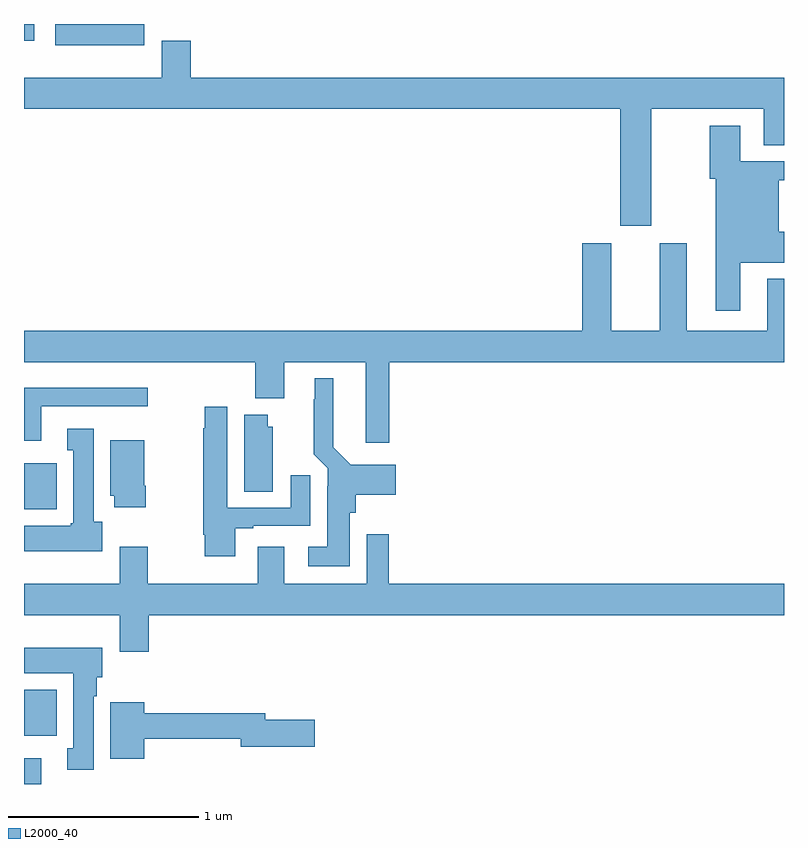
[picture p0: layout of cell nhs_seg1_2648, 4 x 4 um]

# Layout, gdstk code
import gdstk
lib = gdstk.Library(unit=1e-6, precision=1e-09)
def R(c, l, rs):  # rectangles x0, y0, x1, y1
    for r in rs: c.add(gdstk.rectangle(r[:2], r[2:], *l))
def P(c, l, *ps):  # polygons
    for p in ps: c.add(gdstk.Polygon(p, *l))
L2000_40 = (2000, 40)

nhs_seg1_2648 = lib.new_cell('nhs_seg1_2648')
R(nhs_seg1_2648, L2000_40, [(255,528.199,255.091,528.334), (255,528.452,255.172,528.694), (255,529.646,255.172,529.888), (255.165,532.088,255.634,532.199), (255,532.11,255.055,532.199)])
P(nhs_seg1_2648, L2000_40, [(258.301,531.752),(258.893,531.752),(258.893,531.562),(259,531.562),(259,531.916),(255.878,531.916),(255.878,532.111),(255.725,532.111),(255.725,531.916),(255,531.916),(255,531.752),(258.137,531.752),(258.137,531.138),(258.301,531.138)],
  [(258.769,530.942),(259,530.942),(259,531.106),(258.973,531.106),(258.973,531.376),(259,531.376),(259,531.477),(258.769,531.477),(258.769,531.664),(258.61,531.664),(258.61,531.384),(258.641,531.384),(258.641,530.691),(258.769,530.691)],
  [(256.922,530.42),(259,530.42),(259,530.857),(258.911,530.857),(258.911,530.584),(258.487,530.584),(258.487,531.046),(258.347,531.046),(258.347,530.584),(258.091,530.584),(258.091,531.046),(257.939,531.046),(257.939,530.584),(255,530.584),(255,530.42),(256.217,530.42),(256.217,530.228),(256.369,530.228),(256.369,530.42),(256.799,530.42),(256.799,529.995),(256.922,529.995)],
  [(256.714,529.626),(256.745,529.626),(256.745,529.721),(256.957,529.721),(256.957,529.879),(256.719,529.879),(256.627,529.972),(256.627,530.335),(256.529,530.335),(256.529,530.225),(256.525,530.225),(256.525,529.934),(256.599,529.86),(256.599,529.766),(256.595,529.766),(256.595,529.447),(256.497,529.447),(256.497,529.346),(256.714,529.346)],
  [(255.091,530.187),(255.652,530.187),(255.652,530.284),(255,530.284),(255,530.006),(255.091,530.006)],
  [(256.111,529.545),(256.207,529.545),(256.207,529.557),(256.507,529.557),(256.507,529.825),(256.403,529.825),(256.403,529.653),(256.069,529.653),(256.069,530.185),(255.95,530.185),(255.95,530.072),(255.943,530.072),(255.943,529.51),(255.95,529.51),(255.95,529.398),(256.111,529.398)],
  [(256.309,530.079),(256.282,530.079),(256.282,530.143),(256.16,530.143),(256.16,529.738),(256.309,529.738)],
  [(255.412,529.578),(255.367,529.578),(255.367,530.068),(255.227,530.068),(255.227,529.955),(255.26,529.955),(255.26,529.572),(255.247,529.572),(255.247,529.558),(255,529.558),(255,529.424),(255.412,529.424)],
  [(255.642,529.768),(255.634,529.768),(255.634,530.008),(255.455,530.008),(255.455,529.716),(255.476,529.716),(255.476,529.656),(255.642,529.656)],
  [(255.656,529.088),(259,529.088),(259,529.252),(256.919,529.252),(256.919,529.513),(256.803,529.513),(256.803,529.252),(256.369,529.252),(256.369,529.447),(256.229,529.447),(256.229,529.252),(255.651,529.252),(255.651,529.447),(255.503,529.447),(255.503,529.252),(255,529.252),(255,529.088),(255.503,529.088),(255.503,528.894),(255.656,528.894)],
  [(255.367,528.662),(255.382,528.662),(255.382,528.762),(255.412,528.762),(255.412,528.916),(255,528.916),(255,528.782),(255.26,528.782),(255.26,528.386),(255.227,528.386),(255.227,528.273),(255.367,528.273)],
  [(255.634,528.436),(256.142,528.436),(256.142,528.394),(256.531,528.394),(256.531,528.536),(256.27,528.536),(256.27,528.572),(255.634,528.572),(255.634,528.628),(255.455,528.628),(255.455,528.332),(255.634,528.332)])

lib.write_gds('nhs_seg1_2648.gds')
